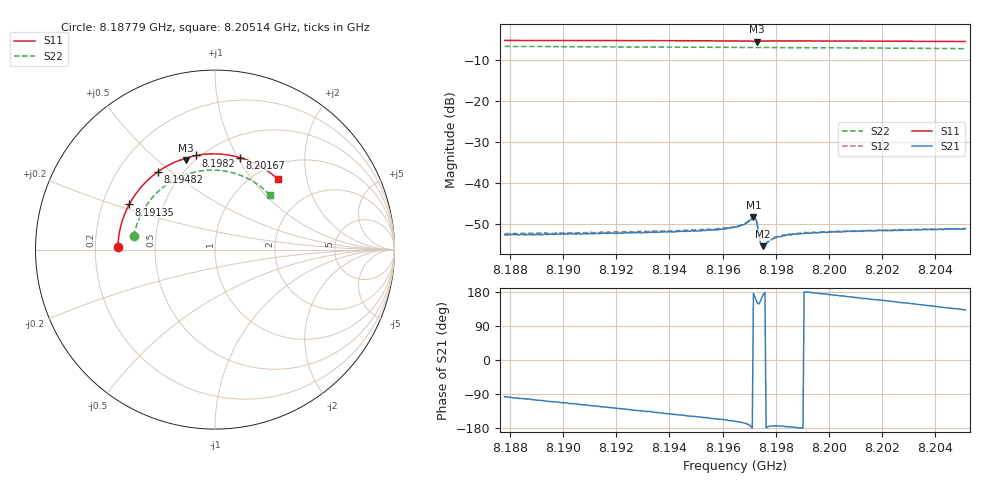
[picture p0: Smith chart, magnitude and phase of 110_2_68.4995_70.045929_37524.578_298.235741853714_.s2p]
#  HZ  S  RI  R  50.00
! Rohde & Schwarz Vector Network Analyzer
! Rohde-Schwarz,ZNB20-2Port,1311601062101988,3.16
! Created: UTC 3/20/2024, 5:08:40 PM
! freq[Hz]  re:S11  im:S11  re:S21  im:S21  re:S12  im:S12  re:S22  im:S22
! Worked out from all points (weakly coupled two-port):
!   401 points, 8.18779 GHz to 8.20514 GHz, reference 50 ohm
!   highest |S21| = -48.31 dB at 8.19716 GHz (marker M1); lowest = -55.3 dB at 8.19751 GHz (marker M2)
!   lowest |S11| = -5.6 dB at 8.19729 GHz (marker M3), VSWR 3.19, Z = 22.8 + j31.2 ohm
!   |S11| at or under -10 dB: nowhere
!   |S22| runs from -7.3 to -6.8 dB; largest |S21 - S12| = 0.00018
!   S11 on the Smith chart (normalised r, x): 8.18779 GHz: 0.30, +0.01; 8.19135 GHz: 0.32, +0.22; 8.19482 GHz: 0.37, +0.45; 8.1982 GHz: 0.48, +0.70; 8.20167 GHz: 0.72, +1.02; 8.20514 GHz: 1.26, +1.36
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8.187794e9  -0.5416 0.0128  -0.000286 -0.00234  -0.000341 -0.0024  -0.4525 0.0758
8.190699e9  -0.498 0.2103  -0.00112 -0.00213  -0.00121 -0.0022  -0.3957 0.2259
8.191349e9  -0.4781 0.2513  -0.00131 -0.00206  -0.0014 -0.00206  -0.3757 0.2562
8.193604e9  -0.3838 0.378  -0.00191 -0.00166  -0.002 -0.00165  -0.2892 0.3471
8.194818e9  -0.3189 0.4333  -0.00222 -0.00138  -0.00232 -0.00134  -0.2332 0.385
8.195771e9  -0.2616 0.4691  -0.00247 -0.00113  -0.00256 -0.00106  -0.1852 0.4087
8.196465e9  -0.2166 0.4905  -0.00277 -0.000919  -0.00287 -0.000833  -0.1486 0.4222
8.196812e9  -0.1923 0.4993  -0.00305 -0.000733  -0.00316 -0.00066  -0.1298 0.4276
8.197159e9  -0.1649 0.502  -0.00383 0.000279  -0.0039 0.000443  -0.1108 0.4324
8.197202e9  -0.1622 0.5002  -0.00376 0.000755  -0.00378 0.000912  -0.1084 0.4328
8.197246e9  -0.1609 0.4984  -0.00349 0.00119  -0.0035 0.00136  -0.1061 0.4332
8.197289e9  -0.1615 0.4974  -0.00291 0.00151  -0.00292 0.00166  -0.1037 0.4336
8.197419e9  -0.1603 0.5043  -0.00172 0.000798  -0.00173 0.000906  -0.0967 0.4353
8.197462e9  -0.1577 0.507  -0.00167 0.00051  -0.00168 0.000596  -0.0944 0.4359
8.197506e9  -0.1548 0.5092  -0.00169 0.000287  -0.0017 0.000356  -0.092 0.4362
8.197592e9  -0.1483 0.5125  -0.0018 5.56e-05  -0.00181 9.46e-05  -0.0871 0.4372
8.197939e9  -0.1228 0.5206  -0.00211 -0.000218  -0.00219 -0.000127  -0.0676 0.4399
8.198199e9  -0.1041 0.5246  -0.00225 -0.000216  -0.00227 -0.000111  -0.0529 0.4415
8.19937e9  -0.021 0.5334  -0.00247 0.000101  -0.00251 0.00021  0.0136 0.4422
8.201668e9  0.1394 0.5123  -0.00246 0.000913  -0.00247 0.000979  0.1412 0.4147
8.202275e9  0.18 0.4986  -0.00242 0.00113  -0.00238 0.00122  0.1731 0.4011
8.205136e9  0.3509 0.3918  -0.00189 0.00208  -0.00182 0.00215  0.306 0.3032
